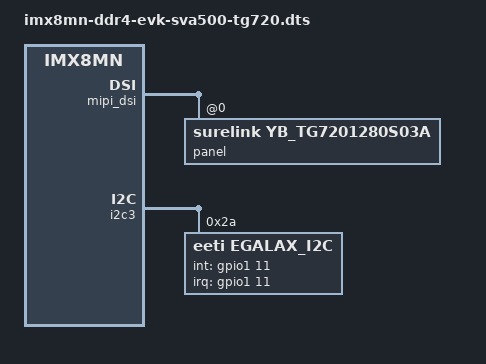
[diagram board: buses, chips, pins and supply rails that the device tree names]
// SPDX-License-Identifier: (GPL-2.0+ OR MIT)
/*
 * Copyright 2019 NXP
 */

/dts-v1/;

#include "imx8mn-ddr4-evk-sva500.dts"


&mipi_dsi {
	panel@0 {
		compatible = "surelink,yb_tg7201280s03a"; 
	};
};

&i2c3 {
	/delete-node/ touchscreen@38;
        eeti@2a {
		compatible = "eeti,egalax_i2c";
		reg = <0x2a>;
		pinctrl-0 = <&pinctrl_ts>;
		interrupt-parent = <&gpio1>;
		interrupts = <11 8>;
		int-gpios = <&gpio1 11 0>;
        };
};

